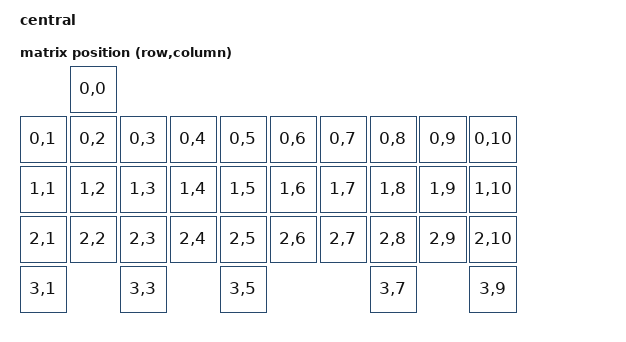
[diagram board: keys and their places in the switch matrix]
/*
 * Copyright (c) 2023 ZitaoTech
 *
 * SPDX-License-Identifier: MIT
 */

/dts-v1/;
#include <nordic/nrf52840_qiaa.dtsi>

#include <dt-bindings/led/led.h>
#include <dt-bindings/zmk/matrix_transform.h>
#include "central-layouts.dtsi"


/ {
    model = "central";
    compatible = "ZitaoTech,central";

    chosen {
        zephyr,code-partition = &code_partition;
        zephyr,sram = &sram0;
        zephyr,flash = &flash0;
        zephyr,console = &cdc_acm_uart;
        zmk,kscan = &kscan0;
        zmk,physical-layouts = &central_layout;
        zmk,studio-rpc-uart = &cdc_acm_uart; // ✅ 
    };
    
    default_transform: keymap_transform_0 {
        compatible = "zmk,matrix-transform";
        columns = <11>;
        rows = <4>;
        map = <
        RC(0,0)
RC(0,1)  RC(0,2) RC(0,3) RC(0,4) RC(0,5) RC(0,6) RC(0,7) RC(0,8) RC(0,9)  RC(0,10)
RC(1,1)  RC(1,2) RC(1,3) RC(1,4) RC(1,5) RC(1,6) RC(1,7) RC(1,8) RC(1,9)  RC(1,10)
RC(2,1)  RC(2,2) RC(2,3) RC(2,4) RC(2,5) RC(2,6) RC(2,7) RC(2,8) RC(2,9)  RC(2,10)
RC(3,1)          RC(3,3)             RC(3,5)             RC(3,7)          RC(3,9)
        >;
    };

};



&usbd {
    status = "okay";
    cdc_acm_uart: cdc_acm_uart {
        compatible = "zephyr,cdc-acm-uart";
    };
};

&central_layout{
	transform = <&default_transform>;
	kscan = <&kscan0>;
}; 

zephyr_udc0: &usbd { 
    compatible = "nordic,nrf-usbd"; 
    status = "okay"; 
};

&flash0 {
    partitions {
        compatible = "fixed-partitions";
        #address-cells = <1>;
        #size-cells = <1>;

        sd_partition: partition@0 {
            reg = <0x00000000 0x00001000>;
        };

        code_partition: partition@1000 {
            reg = <0x00001000 0x000d3000>;
        };

        storage_partition: partition@d4000 {
            reg = <0x000d4000 0x00020000>;
        };

        boot_partition: partition@f4000 {
            reg = <0x000f4000 0x0000c000>;
        };
    };
};

